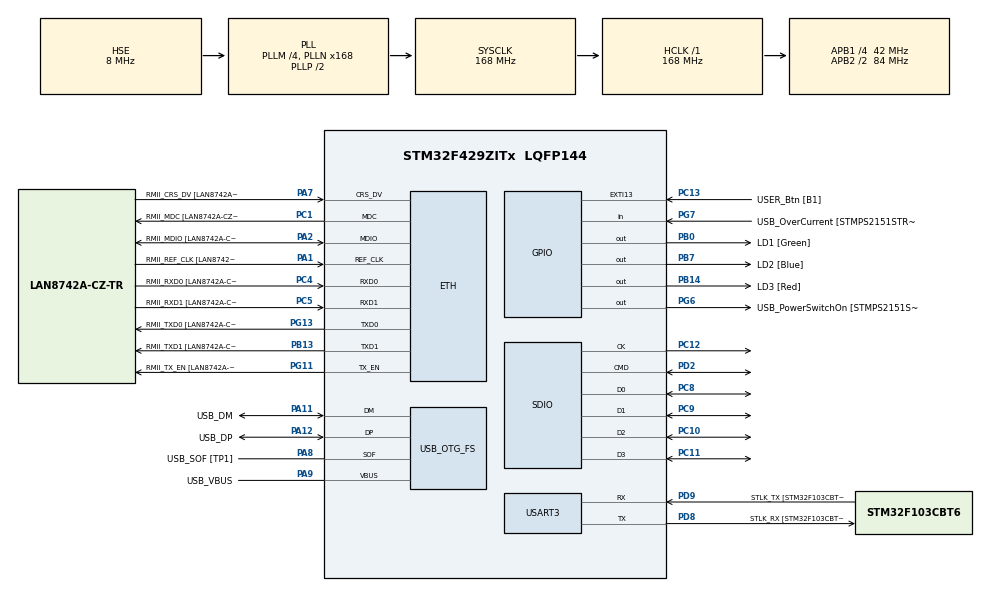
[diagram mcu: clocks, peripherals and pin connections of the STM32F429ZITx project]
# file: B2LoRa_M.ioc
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ETH.MediaInterface=HAL_ETH_RMII_MODE
ETH.PHY_Name=LAN8742A_PHY_ADDRESS
ETH.PHY_Value=0
ETH.PhyAddress=0
FATFS._USE_LFN=1
Mcu.Family=STM32F4
Mcu.Name=STM32F429ZITx
Mcu.Package=LQFP144
NVIC.PriorityGroup=NVIC_PRIORITYGROUP_4
PA1.GPIO_Label=RMII_REF_CLK [LAN8742A-CZ-TR_REFCLK0]
PA1.Mode=RMII
PA1.Signal=ETH_REF_CLK
PA10.GPIO_Label=USB_ID
PA10.Signal=USB_OTG_FS_ID
PA11.GPIO_Label=USB_DM
PA11.Mode=Device_Only
PA11.Signal=USB_OTG_FS_DM
PA12.GPIO_Label=USB_DP
PA12.Mode=Device_Only
PA12.Signal=USB_OTG_FS_DP
PA13.GPIO_Label=TMS
PA13.Mode=Serial_Wire
PA13.Signal=SYS_JTMS-SWDIO
PA14.GPIO_Label=TCK
PA14.Mode=Serial_Wire
PA14.Signal=SYS_JTCK-SWCLK
PA2.GPIO_Label=RMII_MDIO [LAN8742A-CZ-TR_MDIO]
PA2.Mode=RMII
PA2.Signal=ETH_MDIO
PA7.GPIO_Label=RMII_CRS_DV [LAN8742A-CZ-TR_CRS_DV]
PA7.Mode=RMII
PA7.Signal=ETH_CRS_DV
PA8.GPIO_Label=USB_SOF [TP1]
PA8.Mode=Activate_SOF_FS
PA8.Signal=USB_OTG_FS_SOF
PA9.GPIO_Label=USB_VBUS
PA9.Mode=Activate_VBUS
PA9.Signal=USB_OTG_FS_VBUS
PB0.GPIO_Label=LD1 [Green]
PB0.Signal=GPIO_Output
PB13.GPIO_Label=RMII_TXD1 [LAN8742A-CZ-TR_TXD1]
PB13.Mode=RMII
PB13.Signal=ETH_TXD1
PB14.GPIO_Label=LD3 [Red]
PB14.Signal=GPIO_Output
PB7.GPIO_Label=LD2 [Blue]
PB7.Signal=GPIO_Output
PC1.GPIO_Label=RMII_MDC [LAN8742A-CZ-TR_MDC]
PC1.Mode=RMII
PC1.Signal=ETH_MDC
PC10.Mode=SD_4_bits_Wide_bus
PC10.Signal=SDIO_D2
PC11.Mode=SD_4_bits_Wide_bus
PC11.Signal=SDIO_D3
PC12.Mode=SD_4_bits_Wide_bus
PC12.Signal=SDIO_CK
PC13.GPIO_Label=USER_Btn [B1]
PC13.Signal=GPXTI13
PC14/OSC32_IN.Mode=LSE-External-Oscillator
PC14/OSC32_IN.Signal=RCC_OSC32_IN
PC15/OSC32_OUT.Mode=LSE-External-Oscillator
PC15/OSC32_OUT.Signal=RCC_OSC32_OUT
PC4.GPIO_Label=RMII_RXD0 [LAN8742A-CZ-TR_RXD0]
PC4.Mode=RMII
PC4.Signal=ETH_RXD0
PC5.GPIO_Label=RMII_RXD1 [LAN8742A-CZ-TR_RXD1]
PC5.Mode=RMII
PC5.Signal=ETH_RXD1
PC8.Mode=SD_4_bits_Wide_bus
PC8.Signal=SDIO_D0
PC9.Mode=SD_4_bits_Wide_bus
PC9.Signal=SDIO_D1
PD2.Mode=SD_4_bits_Wide_bus
PD2.Signal=SDIO_CMD
PD8.GPIO_Label=STLK_RX [STM32F103CBT6_PA3]
PD8.Mode=Asynchronous
PD8.Signal=USART3_TX
PD9.GPIO_Label=STLK_TX [STM32F103CBT6_PA2]
PD9.Mode=Asynchronous
PD9.Signal=USART3_RX
PG11.GPIO_Label=RMII_TX_EN [LAN8742A-CZ-TR_TXEN]
PG11.Mode=RMII
PG11.Signal=ETH_TX_EN
PG13.GPIO_Label=RMII_TXD0 [LAN8742A-CZ-TR_TXD0]
PG13.Mode=RMII
PG13.Signal=ETH_TXD0
PG6.GPIO_Label=USB_PowerSwitchOn [STMPS2151STR_EN]
PG6.Signal=GPIO_Output
PG7.GPIO_Label=USB_OverCurrent [STMPS2151STR_FAULT]
PG7.Signal=GPIO_Input
PH0/OSC_IN.GPIO_Label=MCO [STM32F103CBT6_PA8]
PH0/OSC_IN.Mode=HSE-External-Clock-Source
PH0/OSC_IN.Signal=RCC_OSC_IN
PH1/OSC_OUT.Mode=HSE-External-Clock-Source
PH1/OSC_OUT.Signal=RCC_OSC_OUT
ProjectManager.HeapSize=0x200
ProjectManager.StackSize=0x400
ProjectManager.TargetToolchain=STM32CubeIDE
RCC.48MHZClocksFreq_Value=48000000
RCC.AHBFreq_Value=168000000
RCC.APB1CLKDivider=RCC_HCLK_DIV4
RCC.APB1Freq_Value=42000000
RCC.APB1TimFreq_Value=84000000
RCC.APB2CLKDivider=RCC_HCLK_DIV2
RCC.APB2Freq_Value=84000000
RCC.APB2TimCLKDivider=2
RCC.APB2TimFreq_Value=168000000
RCC.CortexFreq_Value=168000000
RCC.HCLKFreq_Value=168000000
RCC.HSE_VALUE=8000000
RCC.HSI_VALUE=16000000
RCC.PLLM=4
RCC.PLLMUL=RCC_PLL_MUL9
RCC.PLLN=168
RCC.PLLQ=7
RCC.PRESCALERUSB=RCC_USBCLKSOURCE_PLL_DIV1_5
RCC.SYSCLKFreq_VALUE=168000000
RCC.SYSCLKSource=RCC_SYSCLKSOURCE_PLLCLK
RCC.SYSCLKSourceVirtual=RCC_SYSCLKSOURCE_PLLCLK
RCC.USBFreq_Value=48000000
RCC.VCOOutputFreq_Value=336000000
SDIO.ClockDiv=46
USART3.VirtualMode=VM_ASYNC
USB_OTG_FS.VirtualMode=Device_Only
VP_FATFS_VS_SDIO.Mode=SDIO
board=NUCLEO-F429ZI

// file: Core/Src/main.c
/* USER CODE BEGIN Header */
/**
  ******************************************************************************
  * @file           : main.c
  * @brief          : Main program body
  ******************************************************************************
  * @attention
  *
  * Copyright (c) 2026 STMicroelectronics.
  * All rights reserved.
  *
  * This software is licensed under terms that can be found in the LICENSE file
  * in the root directory of this software component.
  * If no LICENSE file comes with this software, it is provided AS-IS.
  *
  ******************************************************************************
  */
/* USER CODE END Header */
#include "main.h"
#include "fatfs.h"
#include <string.h>
#include <stdio.h>
#include <stdint.h>

/* USER CODE BEGIN PD */
#define BIG_FILE_PATH           "0:/11_06_~4.CFILE"
#define BIG_READ_CHUNK_BYTES    4096U
#define BIG_PROGRESS_STEP_BYTES (4UL * 1024UL * 1024UL)

#define B2LORA_SAMPLE_RATE_HZ   500000UL
#define B2LORA_BENCH_SECONDS    30UL
#define B2LORA_IQ_BYTES_PER_SMP 4UL
#define B2LORA_BENCH_BYTES      (B2LORA_SAMPLE_RATE_HZ * B2LORA_BENCH_SECONDS * B2LORA_IQ_BYTES_PER_SMP)

/* USER CODE END PD */

ETH_TxPacketConfig TxConfig;
ETH_DMADescTypeDef  DMARxDscrTab[ETH_RX_DESC_CNT]; /* Ethernet Rx DMA Descriptors */
ETH_DMADescTypeDef  DMATxDscrTab[ETH_TX_DESC_CNT]; /* Ethernet Tx DMA Descriptors */

ETH_HandleTypeDef heth;

SD_HandleTypeDef hsd;

UART_HandleTypeDef huart3;

PCD_HandleTypeDef hpcd_USB_OTG_FS;

/* USER CODE BEGIN PV */
FIL fil;
FILINFO fno;
FRESULT fres;
UINT br;

char msg[192];

uint8_t big_buf[BIG_READ_CHUNK_BYTES];

FSIZE_t big_file_size;
FSIZE_t total_read;
uint32_t big_hash;

typedef struct
{
  uint64_t cycles_joint_sniffing;
  uint64_t cycles_to_align;
  uint64_t cycles_fo_align;
  uint64_t cycles_phase_align;
  uint64_t cycles_total;

  uint64_t iq_pairs;
  uint64_t joint_metric;
  uint64_t to_metric;
  int64_t fo_metric;
  uint64_t phase_metric;

  int16_t prev_i;
  int16_t prev_q;
  uint8_t has_prev;
} B2LoRaTimingStats;

B2LoRaTimingStats b2_stats;
/* USER CODE END PV */

void SystemClock_Config(void);
static void MX_GPIO_Init(void);
static void MX_ETH_Init(void);
static void MX_USART3_UART_Init(void);
static void MX_USB_OTG_FS_PCD_Init(void);
static void MX_SDIO_SD_Init(void);

/* USER CODE BEGIN 0 */
static void uart_print(const char *s)
{
  HAL_UART_Transmit(&huart3, (uint8_t *)s, strlen(s), HAL_MAX_DELAY);
}

static uint32_t rolling_hash_update(uint32_t hash, const uint8_t *data, UINT len)
{
  UINT i;

  for (i = 0; i < len; i++)
  {
    hash = hash * 131u + data[i];
  }

  return hash;
}

static void u64_to_dec(uint64_t value, char *out, size_t out_size)
{
  char tmp[24];
  size_t i = 0;
  size_t j;

  if (out_size == 0u)
  {
    return;
  }

  if (value == 0u)
  {
    out[0] = '0';
    if (out_size > 1u)
    {
      out[1] = '\0';
    }
    return;
  }

  while ((value > 0u) && (i < sizeof(tmp)))
  {
    tmp[i++] = (char)('0' + (value % 10u));
    value /= 10u;
  }

  if ((i + 1u) > out_size)
  {
    out[0] = '?';
    if (out_size > 1u)
    {
      out[1] = '\0';
    }
    return;
  }

  for (j = 0u; j < i; j++)
  {
    out[j] = tmp[i - 1u - j];
  }
  out[i] = '\0';
}

static void i64_to_dec(int64_t value, char *out, size_t out_size)
{
  uint64_t mag;

  if (out_size == 0u)
  {
    return;
  }

  if (value >= 0)
  {
    u64_to_dec((uint64_t)value, out, out_size);
    return;
  }

  out[0] = '-';
  if (out_size == 1u)
  {
    return;
  }

  mag = (uint64_t)(-(value + 1)) + 1u;
  u64_to_dec(mag, out + 1, out_size - 1u);
}

static void uart_print_u64_line(const char *key, uint64_t value)
{
  char num[24];
  u64_to_dec(value, num, sizeof(num));
  snprintf(msg, sizeof(msg), "%s=%s\r\n", key, num);
  uart_print(msg);
}

static void uart_print_fixed3_line(const char *key, uint64_t x1000, const char *unit)
{
  unsigned long int_part = (unsigned long)(x1000 / 1000u);
  unsigned long frac_part = (unsigned long)(x1000 % 1000u);
  snprintf(msg, sizeof(msg), "%s=%lu.%03lu %s\r\n", key, int_part, frac_part, unit);
  uart_print(msg);
}

static void uart_print_fixed2_line(const char *key, uint64_t x100, const char *unit)
{
  unsigned long int_part = (unsigned long)(x100 / 100u);
  unsigned long frac_part = (unsigned long)(x100 % 100u);
  snprintf(msg, sizeof(msg), "%s=%lu.%02lu %s\r\n", key, int_part, frac_part, unit);
  uart_print(msg);
}

static int32_t abs_i32(int32_t x)
{
  return (x < 0) ? -x : x;
}

static void b2lora_profiler_init(void)
{
  CoreDebug->DEMCR |= CoreDebug_DEMCR_TRCENA_Msk;
  DWT->CYCCNT = 0u;
  DWT->CTRL |= DWT_CTRL_CYCCNTENA_Msk;
}

static uint32_t b2lora_profiler_now_cycles(void)
{
  return DWT->CYCCNT;
}

static uint64_t b2lora_profiler_delta_cycles(uint32_t start, uint32_t end)
{
  return (uint64_t)(uint32_t)(end - start);
}

static void b2lora_stage_joint_sniffing(const int16_t *iq, size_t pairs)
{
  size_t i;
  uint64_t metric = b2_stats.joint_metric;

  for (i = 0; i < pairs; i++)
  {
    int32_t i0 = iq[2u * i];
    int32_t q0 = iq[2u * i + 1u];
    metric += (uint64_t)((uint32_t)(i0 * i0) + (uint32_t)(q0 * q0));
  }

  b2_stats.joint_metric = metric;
}

static void b2lora_stage_to_align(const int16_t *iq, size_t pairs)
{
  size_t i;
  int32_t prev_i = b2_stats.prev_i;
  int32_t prev_q = b2_stats.prev_q;
  uint8_t has_prev = b2_stats.has_prev;
  uint64_t metric = b2_stats.to_metric;

  for (i = 0; i < pairs; i++)
  {
    int32_t i0 = iq[2u * i];
    int32_t q0 = iq[2u * i + 1u];

    if (has_prev)
    {
      metric += (uint64_t)(abs_i32(i0 - prev_i) + abs_i32(q0 - prev_q));
    }

    prev_i = i0;
    prev_q = q0;
    has_prev = 1u;
  }

  b2_stats.prev_i = (int16_t)prev_i;
  b2_stats.prev_q = (int16_t)prev_q;
  b2_stats.has_prev = has_prev;
  b2_stats.to_metric = metric;
}

static void b2lora_stage_fo_align(const int16_t *iq, size_t pairs)
{
  size_t i;
  int32_t prev_i = b2_stats.prev_i;
  int32_t prev_q = b2_stats.prev_q;
  uint8_t has_prev = b2_stats.has_prev;
  int64_t metric = b2_stats.fo_metric;

  for (i = 0; i < pairs; i++)
  {
    int32_t i0 = iq[2u * i];
    int32_t q0 = iq[2u * i + 1u];

    if (has_prev)
    {
      metric += ((int64_t)prev_i * (int64_t)q0) - ((int64_t)prev_q * (int64_t)i0);
    }

    prev_i = i0;
    prev_q = q0;
    has_prev = 1u;
  }

  b2_stats.prev_i = (int16_t)prev_i;
  b2_stats.prev_q = (int16_t)prev_q;
  b2_stats.has_prev = has_prev;
  b2_stats.fo_metric = metric;
}

static void b2lora_stage_phase_align(const int16_t *iq, size_t pairs)
{
  size_t i;
  uint64_t metric = b2_stats.phase_metric;

  for (i = 0; i < pairs; i++)
  {
    int32_t i0 = iq[2u * i];
    int32_t q0 = iq[2u * i + 1u];
    int32_t p0 = i0 + q0;
    int32_t p1 = i0 - q0;
    int32_t p2 = -i0 + q0;
    int32_t p3 = -i0 - q0;

    int32_t best = abs_i32(p0);
    int32_t v1 = abs_i32(p1);
    int32_t v2 = abs_i32(p2);
    int32_t v3 = abs_i32(p3);

    if (v1 > best)
    {
      best = v1;
    }
    if (v2 > best)
    {
      best = v2;
    }
    if (v3 > best)
    {
      best = v3;
    }

    metric += (uint64_t)best;
  }

  b2_stats.phase_metric = metric;
}

static void b2lora_print_block_report(const char *name, uint64_t cycles)
{
  char cycle_num[24];
  uint64_t us = 0u;
  unsigned long ms_int = 0u;
  unsigned long ms_frac = 0u;

  u64_to_dec(cycles, cycle_num, sizeof(cycle_num));
  if (SystemCoreClock > 0u)
  {
    us = (cycles * 1000000u) / (uint64_t)SystemCoreClock;
  }
  ms_int = (unsigned long)(us / 1000u);
  ms_frac = (unsigned long)(us % 1000u);

  snprintf(msg,
           sizeof(msg),
           "  %-16s cycles=%s, time=%lu.%03lu ms\r\n",
           name,
           cycle_num,
           ms_int,
           ms_frac);
  uart_print(msg);
}

static void run_b2lora_mcu_pipeline_time_test(void)
{
  FSIZE_t next_progress;
  FSIZE_t target_bytes;
  uint8_t mount_try;
  uint32_t start_tick;
  uint32_t elapsed_ms;
  uint32_t c0;
  uint32_t c1;
  uint8_t read_error = 0;
  uint64_t valid_bytes_total = 0;
  uint64_t throughput_kib_x100 = 0u;
  uint64_t processed_signal_ms = 0u;
  uint64_t realtime_ratio_x1000 = 0u;
  uint64_t bench_seconds_x1000;
  char joint_num[24];
  char to_num[24];
  char fo_num[24];
  char phase_num[24];

  uart_print("\r\n===== B2LORA MCU PIPELINE TEST START =====\r\n");
  snprintf(msg, sizeof(msg), "Target path: %s\r\n", BIG_FILE_PATH);
  uart_print(msg);

  fres = FR_NOT_READY;
  for (mount_try = 1u; mount_try <= 3u; mount_try++)
  {
    fres = f_mount(&SDFatFS, (TCHAR const*)SDPath, 1);
    if (fres == FR_OK)
    {
      break;
    }

    snprintf(msg, sizeof(msg), "f_mount try %u FAILED, res=%d\r\n", mount_try, fres);
    uart_print(msg);
    snprintf(msg,
             sizeof(msg),
             "SD state=%lu, SD error=0x%08lX\r\n",
             (unsigned long)HAL_SD_GetCardState(&hsd),
             (unsigned long)HAL_SD_GetError(&hsd));
    uart_print(msg);

    (void)HAL_SD_DeInit(&hsd);
    HAL_Delay(20);
    if (BSP_SD_Init() == MSD_OK)
    {
      if (hsd.Init.BusWide == SDIO_BUS_WIDE_4B)
      {
        uart_print("SD reinit OK (4-bit)\r\n");
      }
      else
      {
        uart_print("SD reinit OK (1-bit fallback)\r\n");
      }
    }
    else
    {
      uart_print("SD reinit BSP_SD_Init FAILED\r\n");
    }
    HAL_Delay(50);
  }

  if (fres != FR_OK)
  {
    snprintf(msg, sizeof(msg), "f_mount FAILED, res=%d\r\n", fres);
    uart_print(msg);
    snprintf(msg,
             sizeof(msg),
             "SD state=%lu, SD error=0x%08lX\r\n",
             (unsigned long)HAL_SD_GetCardState(&hsd),
             (unsigned long)HAL_SD_GetError(&hsd));
    uart_print(msg);
    uart_print("===== B2LORA MCU PIPELINE TEST END =====\r\n");
    return;
  }
  uart_print("f_mount OK\r\n");

  if (hsd.Init.BusWide == SDIO_BUS_WIDE_4B)
  {
    uart_print("SD bus mode: 4-bit\r\n");
  }
  else if (hsd.Init.BusWide == SDIO_BUS_WIDE_1B)
  {
    uart_print("SD bus mode: 1-bit (fallback)\r\n");
  }
  else
  {
    snprintf(msg, sizeof(msg), "SD bus mode: unknown(0x%08lX)\r\n", (unsigned long)hsd.Init.BusWide);
    uart_print(msg);
  }

  fres = f_stat(BIG_FILE_PATH, &fno);
  if (fres != FR_OK)
  {
    snprintf(msg, sizeof(msg), "f_stat FAILED, res=%d\r\n", fres);
    uart_print(msg);
    uart_print("===== B2LORA MCU PIPELINE TEST END =====\r\n");
    return;
  }

  big_file_size = fno.fsize;
  snprintf(msg, sizeof(msg), "f_stat OK, file_size=%lu bytes\r\n", (unsigned long)big_file_size);
  uart_print(msg);

  fres = f_open(&fil, BIG_FILE_PATH, FA_READ);
  if (fres != FR_OK)
  {
    snprintf(msg, sizeof(msg), "f_open FAILED, res=%d\r\n", fres);
    uart_print(msg);
    uart_print("===== B2LORA MCU PIPELINE TEST END =====\r\n");
    return;
  }
  uart_print("f_open OK\r\n");

  target_bytes = big_file_size;
  if (target_bytes > (FSIZE_t)B2LORA_BENCH_BYTES)
  {
    target_bytes = (FSIZE_t)B2LORA_BENCH_BYTES;
  }

  bench_seconds_x1000 = ((uint64_t)target_bytes * 1000u) /
                        ((uint64_t)B2LORA_SAMPLE_RATE_HZ * (uint64_t)B2LORA_IQ_BYTES_PER_SMP);

  snprintf(msg, sizeof(msg), "benchmark_bytes=%lu (%lu.%03lu s @ %lu Hz)\r\n",
           (unsigned long)target_bytes,
           (unsigned long)(bench_seconds_x1000 / 1000u),
           (unsigned long)(bench_seconds_x1000 % 1000u),
           (unsigned long)B2LORA_SAMPLE_RATE_HZ);
  uart_print(msg);

  total_read = 0;
  big_hash = 0;
  memset(&b2_stats, 0, sizeof(b2_stats));
  b2lora_profiler_init();

  next_progress = (FSIZE_t)BIG_PROGRESS_STEP_BYTES;
  start_tick = HAL_GetTick();

  while (total_read < target_bytes)
  {
    UINT req = sizeof(big_buf);
    FSIZE_t remain = target_bytes - total_read;
    if (remain < (FSIZE_t)req)
    {
      req = (UINT)remain;
    }

    fres = f_read(&fil, big_buf, req, &br);
    if (fres != FR_OK)
    {
      snprintf(msg, sizeof(msg), "f_read FAILED, res=%d\r\n", fres);
      uart_print(msg);
      read_error = 1;
      break;
    }

    if (br == 0)
    {
      uart_print("Reached EOF\r\n");
      break;
    }

    total_read += (FSIZE_t)br;
    big_hash = rolling_hash_update(big_hash, big_buf, br);

    {
      UINT valid_bytes = br & ~(UINT)0x3u;
      size_t pairs = (size_t)(valid_bytes / 4u);
      const int16_t *iq = (const int16_t *)(const void *)big_buf;

      if (pairs > 0u)
      {
        valid_bytes_total += (uint64_t)valid_bytes;
        b2_stats.iq_pairs += (uint64_t)pairs;

        c0 = b2lora_profiler_now_cycles();
        b2lora_stage_joint_sniffing(iq, pairs);
        c1 = b2lora_profiler_now_cycles();
        b2_stats.cycles_joint_sniffing += b2lora_profiler_delta_cycles(c0, c1);

        c0 = b2lora_profiler_now_cycles();
        b2lora_stage_to_align(iq, pairs);
        c1 = b2lora_profiler_now_cycles();
        b2_stats.cycles_to_align += b2lora_profiler_delta_cycles(c0, c1);

        c0 = b2lora_profiler_now_cycles();
        b2lora_stage_fo_align(iq, pairs);
        c1 = b2lora_profiler_now_cycles();
        b2_stats.cycles_fo_align += b2lora_profiler_delta_cycles(c0, c1);

        c0 = b2lora_profiler_now_cycles();
        b2lora_stage_phase_align(iq, pairs);
        c1 = b2lora_profiler_now_cycles();
        b2_stats.cycles_phase_align += b2lora_profiler_delta_cycles(c0, c1);
      }
    }

    if (total_read >= next_progress)
    {
      unsigned long percent = 0;

      if (target_bytes > 0u)
      {
        percent = (unsigned long)(((uint64_t)total_read * 100ULL) / (uint64_t)target_bytes);
      }

      if (percent > 100UL)
      {
        percent = 100UL;
      }

      snprintf(msg, sizeof(msg), "Progress: %lu / %lu bytes (%lu%%)\r\n",
               (unsigned long)total_read,
               (unsigned long)target_bytes,
               percent);
      uart_print(msg);

      while (total_read >= next_progress)
      {
        next_progress += (FSIZE_t)BIG_PROGRESS_STEP_BYTES;
      }
    }
  }

  f_close(&fil);
  elapsed_ms = HAL_GetTick() - start_tick;

  b2_stats.cycles_total = b2_stats.cycles_joint_sniffing
                        + b2_stats.cycles_to_align
                        + b2_stats.cycles_fo_align
                        + b2_stats.cycles_phase_align;

  if (elapsed_ms > 0u)
  {
    throughput_kib_x100 = (valid_bytes_total * 100000u) / ((uint64_t)elapsed_ms * 1024u);
  }

  if (B2LORA_SAMPLE_RATE_HZ > 0u)
  {
    processed_signal_ms = (b2_stats.iq_pairs * 1000u) / (uint64_t)B2LORA_SAMPLE_RATE_HZ;
  }

  if ((elapsed_ms > 0u) && (processed_signal_ms > 0u))
  {
    realtime_ratio_x1000 = (processed_signal_ms * 1000u) / (uint64_t)elapsed_ms;
  }

  uart_print("----- SUMMARY -----\r\n");
  snprintf(msg, sizeof(msg), "file_size=%lu\r\n", (unsigned long)big_file_size);
  uart_print(msg);
  snprintf(msg, sizeof(msg), "benchmark_target_bytes=%lu\r\n", (unsigned long)target_bytes);
  uart_print(msg);
  snprintf(msg, sizeof(msg), "total_read=%lu\r\n", (unsigned long)total_read);
  uart_print(msg);
  uart_print_u64_line("valid_iq_bytes", valid_bytes_total);
  uart_print_u64_line("iq_pairs", b2_stats.iq_pairs);
  snprintf(msg, sizeof(msg), "rolling_hash=0x%08lX\r\n", (unsigned long)big_hash);
  uart_print(msg);
  snprintf(msg, sizeof(msg), "elapsed_ms=%lu\r\n", (unsigned long)elapsed_ms);
  uart_print(msg);
  uart_print_fixed2_line("throughput", throughput_kib_x100, "KiB/s");
  uart_print_fixed3_line("processed_signal", processed_signal_ms, "s");
  uart_print_fixed3_line("real_time_ratio", realtime_ratio_x1000, "x");

  uart_print("\r\n=== DWT Measured Overhead (Module Template) ===\r\n");
  b2lora_print_block_report("joint_sniffing", b2_stats.cycles_joint_sniffing);
  b2lora_print_block_report("to_align", b2_stats.cycles_to_align);
  b2lora_print_block_report("fo_align", b2_stats.cycles_fo_align);
  b2lora_print_block_report("phase_align", b2_stats.cycles_phase_align);
  b2lora_print_block_report("total", b2_stats.cycles_total);

  u64_to_dec(b2_stats.joint_metric, joint_num, sizeof(joint_num));
  u64_to_dec(b2_stats.to_metric, to_num, sizeof(to_num));
  i64_to_dec(b2_stats.fo_metric, fo_num, sizeof(fo_num));
  u64_to_dec(b2_stats.phase_metric, phase_num, sizeof(phase_num));
  snprintf(msg, sizeof(msg), "metrics: joint=%s, to=%s, fo=%s, phase=%s\r\n",
           joint_num,
           to_num,
           fo_num,
           phase_num);
  uart_print(msg);

  if ((!read_error) && (total_read == target_bytes))
  {
    uart_print("benchmark_done=YES\r\n");
  }
  else
  {
    uart_print("benchmark_done=NO\r\n");
  }

  uart_print("===== B2LORA MCU PIPELINE TEST END =====\r\n");
}
/* USER CODE END 0 */

int main(void)
{

  /* MCU Configuration--------------------------------------------------------*/

  /* Reset of all peripherals, Initializes the Flash interface and the Systick. */
  HAL_Init();

  /* Configure the system clock */
  SystemClock_Config();

  /* Initialize all configured peripherals */
  MX_GPIO_Init();
  MX_ETH_Init();
  MX_USART3_UART_Init();
  MX_USB_OTG_FS_PCD_Init();
  MX_SDIO_SD_Init();
  MX_FATFS_Init();
  /* USER CODE BEGIN 2 */
  run_b2lora_mcu_pipeline_time_test();
  /* USER CODE END 2 */

  /* Infinite loop */
  while (1)
  {

    /* USER CODE BEGIN 3 */
    HAL_Delay(1000);
  }
  /* USER CODE END 3 */
}

void SystemClock_Config(void)
{
  RCC_OscInitTypeDef RCC_OscInitStruct = {0};
  RCC_ClkInitTypeDef RCC_ClkInitStruct = {0};

  /** Configure the main internal regulator output voltage
  */
  __HAL_RCC_PWR_CLK_ENABLE();
  __HAL_PWR_VOLTAGESCALING_CONFIG(PWR_REGULATOR_VOLTAGE_SCALE1);

  /** Initializes the RCC Oscillators according to the specified parameters
  * in the RCC_OscInitTypeDef structure.
  */
  RCC_OscInitStruct.OscillatorType = RCC_OSCILLATORTYPE_HSE;
  RCC_OscInitStruct.HSEState = RCC_HSE_BYPASS;
  RCC_OscInitStruct.PLL.PLLState = RCC_PLL_ON;
  RCC_OscInitStruct.PLL.PLLSource = RCC_PLLSOURCE_HSE;
  RCC_OscInitStruct.PLL.PLLM = 4;
  RCC_OscInitStruct.PLL.PLLN = 168;
  RCC_OscInitStruct.PLL.PLLP = RCC_PLLP_DIV2;
  RCC_OscInitStruct.PLL.PLLQ = 7;
  if (HAL_RCC_OscConfig(&RCC_OscInitStruct) != HAL_OK)
  {
    Error_Handler();
  }

  /** Initializes the CPU, AHB and APB buses clocks
  */
  RCC_ClkInitStruct.ClockType = RCC_CLOCKTYPE_HCLK|RCC_CLOCKTYPE_SYSCLK
                              |RCC_CLOCKTYPE_PCLK1|RCC_CLOCKTYPE_PCLK2;
  RCC_ClkInitStruct.SYSCLKSource = RCC_SYSCLKSOURCE_PLLCLK;
  RCC_ClkInitStruct.AHBCLKDivider = RCC_SYSCLK_DIV1;
  RCC_ClkInitStruct.APB1CLKDivider = RCC_HCLK_DIV4;
  RCC_ClkInitStruct.APB2CLKDivider = RCC_HCLK_DIV2;

  if (HAL_RCC_ClockConfig(&RCC_ClkInitStruct, FLASH_LATENCY_5) != HAL_OK)
  {
    Error_Handler();
  }
}

static void MX_ETH_Init(void)
{

   static uint8_t MACAddr[6];

  heth.Instance = ETH;
  MACAddr[0] = 0x00;
  MACAddr[1] = 0x80;
  MACAddr[2] = 0xE1;
  MACAddr[3] = 0x00;
  MACAddr[4] = 0x00;
  MACAddr[5] = 0x00;
  heth.Init.MACAddr = &MACAddr[0];
  heth.Init.MediaInterface = HAL_ETH_RMII_MODE;
  heth.Init.TxDesc = DMATxDscrTab;
  heth.Init.RxDesc = DMARxDscrTab;
  heth.Init.RxBuffLen = 1524;

  if (HAL_ETH_Init(&heth) != HAL_OK)
  {
    Error_Handler();
  }

  memset(&TxConfig, 0 , sizeof(ETH_TxPacketConfig));
  TxConfig.Attributes = ETH_TX_PACKETS_FEATURES_CSUM | ETH_TX_PACKETS_FEATURES_CRCPAD;
  TxConfig.ChecksumCtrl = ETH_CHECKSUM_IPHDR_PAYLOAD_INSERT_PHDR_CALC;
  TxConfig.CRCPadCtrl = ETH_CRC_PAD_INSERT;

}

static void MX_SDIO_SD_Init(void)
{

  hsd.Instance = SDIO;
  hsd.Init.ClockEdge = SDIO_CLOCK_EDGE_RISING;
  hsd.Init.ClockBypass = SDIO_CLOCK_BYPASS_DISABLE;
  hsd.Init.ClockPowerSave = SDIO_CLOCK_POWER_SAVE_DISABLE;
  /* Keep 1-bit during card init; BSP_SD_Init switches to 4-bit after init succeeds. */
  hsd.Init.BusWide = SDIO_BUS_WIDE_1B;
  hsd.Init.HardwareFlowControl = SDIO_HARDWARE_FLOW_CONTROL_DISABLE;
  /* 48MHz / (118 + 2) = 400kHz, safer for SD card init phase. */
  hsd.Init.ClockDiv = 118;

}

static void MX_USART3_UART_Init(void)
{

  huart3.Instance = USART3;
  huart3.Init.BaudRate = 115200;
  huart3.Init.WordLength = UART_WORDLENGTH_8B;
  huart3.Init.StopBits = UART_STOPBITS_1;
  huart3.Init.Parity = UART_PARITY_NONE;
  huart3.Init.Mode = UART_MODE_TX_RX;
  huart3.Init.HwFlowCtl = UART_HWCONTROL_NONE;
  huart3.Init.OverSampling = UART_OVERSAMPLING_16;
  if (HAL_UART_Init(&huart3) != HAL_OK)
  {
    Error_Handler();
  }

}

static void MX_USB_OTG_FS_PCD_Init(void)
{

  hpcd_USB_OTG_FS.Instance = USB_OTG_FS;
  hpcd_USB_OTG_FS.Init.dev_endpoints = 4;
  hpcd_USB_OTG_FS.Init.speed = PCD_SPEED_FULL;
  hpcd_USB_OTG_FS.Init.dma_enable = DISABLE;
  hpcd_USB_OTG_FS.Init.phy_itface = PCD_PHY_EMBEDDED;
  hpcd_USB_OTG_FS.Init.Sof_enable = ENABLE;
  hpcd_USB_OTG_FS.Init.low_power_enable = DISABLE;
  hpcd_USB_OTG_FS.Init.lpm_enable = DISABLE;
  hpcd_USB_OTG_FS.Init.vbus_sensing_enable = ENABLE;
  hpcd_USB_OTG_FS.Init.use_dedicated_ep1 = DISABLE;
  if (HAL_PCD_Init(&hpcd_USB_OTG_FS) != HAL_OK)
  {
    Error_Handler();
  }

}

static void MX_GPIO_Init(void)
{
  GPIO_InitTypeDef GPIO_InitStruct = {0};

  /* GPIO Ports Clock Enable */
  __HAL_RCC_GPIOC_CLK_ENABLE();
  __HAL_RCC_GPIOH_CLK_ENABLE();
  __HAL_RCC_GPIOA_CLK_ENABLE();
  __HAL_RCC_GPIOB_CLK_ENABLE();
  __HAL_RCC_GPIOD_CLK_ENABLE();
  __HAL_RCC_GPIOG_CLK_ENABLE();

  /*Configure GPIO pin Output Level */
  HAL_GPIO_WritePin(GPIOB, LD1_Pin|LD3_Pin|LD2_Pin, GPIO_PIN_RESET);

  /*Configure GPIO pin Output Level */
  HAL_GPIO_WritePin(USB_PowerSwitchOn_GPIO_Port, USB_PowerSwitchOn_Pin, GPIO_PIN_RESET);

  /*Configure GPIO pin : USER_Btn_Pin */
  GPIO_InitStruct.Pin = USER_Btn_Pin;
  GPIO_InitStruct.Mode = GPIO_MODE_IT_RISING;
  GPIO_InitStruct.Pull = GPIO_NOPULL;
  HAL_GPIO_Init(USER_Btn_GPIO_Port, &GPIO_InitStruct);

  /*Configure GPIO pins : LD1_Pin LD3_Pin LD2_Pin */
  GPIO_InitStruct.Pin = LD1_Pin|LD3_Pin|LD2_Pin;
  GPIO_InitStruct.Mode = GPIO_MODE_OUTPUT_PP;
  GPIO_InitStruct.Pull = GPIO_NOPULL;
  GPIO_InitStruct.Speed = GPIO_SPEED_FREQ_LOW;
  HAL_GPIO_Init(GPIOB, &GPIO_InitStruct);

  /*Configure GPIO pin : USB_PowerSwitchOn_Pin */
  GPIO_InitStruct.Pin = USB_PowerSwitchOn_Pin;
  GPIO_InitStruct.Mode = GPIO_MODE_OUTPUT_PP;
  GPIO_InitStruct.Pull = GPIO_NOPULL;
  GPIO_InitStruct.Speed = GPIO_SPEED_FREQ_LOW;
  HAL_GPIO_Init(USB_PowerSwitchOn_GPIO_Port, &GPIO_InitStruct);

  /*Configure GPIO pin : USB_OverCurrent_Pin */
  GPIO_InitStruct.Pin = USB_OverCurrent_Pin;
  GPIO_InitStruct.Mode = GPIO_MODE_INPUT;
  GPIO_InitStruct.Pull = GPIO_NOPULL;
  HAL_GPIO_Init(USB_OverCurrent_GPIO_Port, &GPIO_InitStruct);

}

void Error_Handler(void)
{
  __disable_irq();
  while (1)
  {
  }
}
